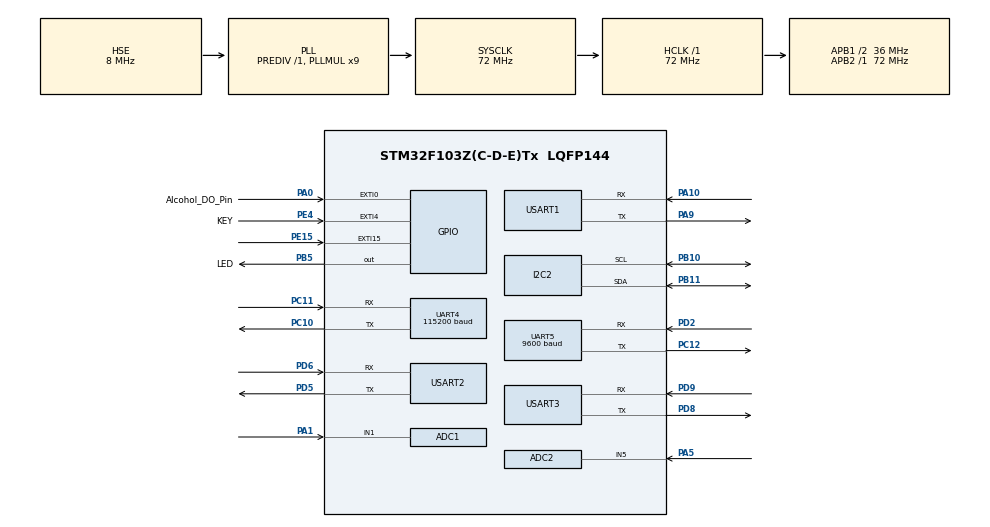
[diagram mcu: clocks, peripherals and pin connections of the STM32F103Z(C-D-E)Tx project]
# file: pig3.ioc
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ADC1.Channel-0\#ChannelRegularConversion=ADC_CHANNEL_1
ADC1.NbrOfConversionFlag=1
ADC1.Rank-0\#ChannelRegularConversion=1
ADC1.SamplingTime-0\#ChannelRegularConversion=ADC_SAMPLETIME_1CYCLE_5
ADC1.master=1
ADC2.Channel-2\#ChannelRegularConversion=ADC_CHANNEL_5
ADC2.NbrOfConversionFlag=1
ADC2.Rank-2\#ChannelRegularConversion=1
ADC2.SamplingTime-2\#ChannelRegularConversion=ADC_SAMPLETIME_1CYCLE_5
Dma.ADC1.0.Direction=DMA_PERIPH_TO_MEMORY
Dma.ADC1.0.Instance=DMA1_Channel1
Dma.ADC1.0.MemDataAlignment=DMA_MDATAALIGN_HALFWORD
Dma.ADC1.0.MemInc=DMA_MINC_ENABLE
Dma.ADC1.0.Mode=DMA_NORMAL
Dma.ADC1.0.PeriphDataAlignment=DMA_PDATAALIGN_HALFWORD
Dma.ADC1.0.PeriphInc=DMA_PINC_DISABLE
Dma.ADC1.0.Priority=DMA_PRIORITY_LOW
Dma.Request0=ADC1
Mcu.Family=STM32F1
Mcu.Name=STM32F103Z(C-D-E)Tx
Mcu.Package=LQFP144
NVIC.DMA1_Channel1_IRQn=true\:0\:0\:false\:false\:true\:false\:true
NVIC.EXTI0_IRQn=true\:0\:0\:false\:false\:true\:true\:true
NVIC.EXTI15_10_IRQn=true\:2\:0\:true\:false\:true\:true\:true
NVIC.EXTI4_IRQn=true\:0\:0\:false\:false\:true\:true\:true
NVIC.PriorityGroup=NVIC_PRIORITYGROUP_4
NVIC.TIM2_IRQn=true\:0\:0\:true\:false\:true\:true\:true
NVIC.UART4_IRQn=true\:1\:0\:true\:false\:true\:true\:true
NVIC.UART5_IRQn=true\:0\:0\:false\:false\:true\:true\:true
NVIC.USART1_IRQn=true\:0\:0\:false\:false\:true\:true\:true
NVIC.USART2_IRQn=true\:2\:0\:true\:false\:true\:true\:true
NVIC.USART3_IRQn=true\:0\:0\:false\:false\:true\:true\:true
OSC_IN.Mode=HSE-External-Oscillator
OSC_IN.Signal=RCC_OSC_IN
OSC_OUT.Mode=HSE-External-Oscillator
OSC_OUT.Signal=RCC_OSC_OUT
PA0-WKUP.GPIO_Label=Alcohol_DO_Pin
PA0-WKUP.GPIO_ModeDefaultEXTI=GPIO_MODE_IT_FALLING
PA0-WKUP.Signal=GPXTI0
PA1.Signal=ADCx_IN1
PA10.Mode=Asynchronous
PA10.Signal=USART1_RX
PA13.Mode=Serial_Wire
PA13.Signal=SYS_JTMS-SWDIO
PA14.Mode=Serial_Wire
PA14.Signal=SYS_JTCK-SWCLK
PA5.Signal=ADCx_IN5
PA9.Mode=Asynchronous
PA9.Signal=USART1_TX
PB10.Mode=I2C
PB10.Signal=I2C2_SCL
PB11.Mode=I2C
PB11.Signal=I2C2_SDA
PB5.GPIO_Label=LED
PB5.GPIO_Speed=GPIO_SPEED_FREQ_MEDIUM
PB5.PinState=GPIO_PIN_SET
PB5.Signal=GPIO_Output
PC10.Mode=Asynchronous
PC10.Signal=UART4_TX
PC11.Mode=Asynchronous
PC11.Signal=UART4_RX
PC12.Mode=Asynchronous
PC12.Signal=UART5_TX
PD2.Mode=Asynchronous
PD2.Signal=UART5_RX
PD5.Mode=Asynchronous
PD5.Signal=USART2_TX
PD6.Mode=Asynchronous
PD6.Signal=USART2_RX
PD8.Mode=Asynchronous
PD8.Signal=USART3_TX
PD9.Mode=Asynchronous
PD9.Signal=USART3_RX
PE15.GPIO_ModeDefaultEXTI=GPIO_MODE_IT_RISING
PE15.Signal=GPXTI15
PE4.GPIO_Label=KEY
PE4.GPIO_ModeDefaultEXTI=GPIO_MODE_IT_RISING_FALLING
PE4.Signal=GPXTI4
ProjectManager.HeapSize=0x200
ProjectManager.StackSize=0x400
ProjectManager.TargetToolchain=MDK-ARM V5.27
RCC.ADCPresc=RCC_ADCPCLK2_DIV6
RCC.AHBFreq_Value=72000000
RCC.APB1CLKDivider=RCC_HCLK_DIV2
RCC.APB1Freq_Value=36000000
RCC.APB1TimFreq_Value=72000000
RCC.APB2Freq_Value=72000000
RCC.APB2TimFreq_Value=72000000
RCC.HCLKFreq_Value=72000000
RCC.PLLMUL=RCC_PLL_MUL9
RCC.PLLSourceVirtual=RCC_PLLSOURCE_HSE
RCC.SYSCLKFreq_VALUE=72000000
RCC.SYSCLKSource=RCC_SYSCLKSOURCE_PLLCLK
RCC.USBFreq_Value=72000000
SH.ADCx_IN1.0=ADC1_IN1,IN1
SH.ADCx_IN5.0=ADC2_IN5,IN5
TIM2.Period=9999
TIM2.Prescaler=7199
UART4.BaudRate=115200
UART4.VirtualMode=Asynchronous
UART5.BaudRate=9600
UART5.VirtualMode=Asynchronous
USART1.VirtualMode=VM_ASYNC
USART2.VirtualMode=VM_ASYNC
USART3.VirtualMode=VM_ASYNC
VP_TIM2_VS_ClockSourceINT.Mode=Internal
board=custom

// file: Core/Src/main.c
/* USER CODE BEGIN Header */
/**
  ******************************************************************************
  * @file           : main.c
  * @brief          : Main program body
  ******************************************************************************
  * @attention
  *
  * Copyright (c) 2022 STMicroelectronics.
  * All rights reserved.
  *
  * This software is licensed under terms that can be found in the LICENSE file
  * in the root directory of this software component.
  * If no LICENSE file comes with this software, it is provided AS-IS.
  *
  ******************************************************************************
  */
/* USER CODE END Header */
#include "main.h"
#include "adc.h"
#include "dma.h"
#include "i2c.h"
#include "tim.h"
#include "usart.h"
#include "gpio.h"

/* USER CODE BEGIN Includes */
#include "stdio.h"
#include "syn6288.h"
#include "openmv.h"
#include "mq135.h"
#include "sim900.h"
#include "hdmi.h"
/* USER CODE END Includes */

/* USER CODE BEGIN PV */
//短信发送的消息内容,危险驾驶行为
char msg[]="30104E0953EA5C0F732A30114EB27231768475286237FF0C68C06D4B523060A876849A7E9A76884C4E3A5B5857285B89516898CE9669FF0C4E3A4E8660A8548C4ED64EBA76845E78798FFF0C8BF76CE8610F4EA4901A5B8951683002795D60A84E008DEF5E735B89FF01\r\n";

float temperate=0;
float ppm;
extern  uint8_t RoG;
uint16_t time=0;
uint8_t USART1_RXbuff[10];
uint8_t USART2_RXbuff[5];
uint8_t USART3_RXbuff[10];
uint8_t warn[10];
uint8_t warn_flag=0;
uint8_t USART4_RXbuff;  // opennmv接收缓冲区
uint8_t if_alcohol;     //是否酒驾标志位
uint8_t if_warn;
/* USER CODE END PV */

void SystemClock_Config(void);

int main(void)
{

  /* MCU Configuration--------------------------------------------------------*/

  /* Reset of all peripherals, Initializes the Flash interface and the Systick. */
  HAL_Init();

  /* Configure the system clock */
  SystemClock_Config();

  /* Initialize all configured peripherals */
  MX_GPIO_Init();
  MX_UART4_Init();
  MX_UART5_Init();
  MX_DMA_Init();
  MX_ADC1_Init();
  MX_USART1_UART_Init();
  MX_USART2_UART_Init();
  MX_ADC2_Init();
  MX_I2C2_Init();
  MX_TIM2_Init();
  MX_USART3_UART_Init();
  /* USER CODE BEGIN 2 */
//	HAL_UART_Receive_IT(&huart1,USART1_RXbuff,2);
	HAL_UART_Receive_IT(&huart2,USART2_RXbuff,1);
	HAL_UART_Receive_IT(&huart3,USART3_RXbuff,4);
	HAL_UART_Receive_IT(&huart4,(void *)&USART4_RXbuff,1);

	//************串口测试
	char hdmi_n0msg[20];
	int ppm1;
	int time_flag=0;
	HAL_GPIO_WritePin(LED_GPIO_Port,LED_Pin,1);//关灯
  /* USER CODE END 2 */

  /* Infinite loop */
  /* USER CODE BEGIN WHILE */
  while (1)
  {
		//检测空气质量（卢）
		MQ135_Task();

		//更新屏幕数据，n0——ppm
		ppm1=ppm*10;

		sprintf(hdmi_n0msg,"x0.val=%d",ppm1);
		Hdmi_SendAtCmd(hdmi_n0msg);
		SendEnd();
		memset(hdmi_n0msg,'\0',sizeof(hdmi_n0msg));

		//**************酒精检测
		//检测酒精，如果酒精超标就报警＋语音（卢东）
		if(USART2_RXbuff[0]=='1')
		{
			if(time_flag==0)
			{
				SYN_FrameInfo("[v6][t5]请在五秒内进行酒精检测");
				HAL_TIM_Base_Start_IT(&htim2);
				time_flag=1;
			}

			else if(time_flag==1 && time>=8)	//5s过去
			{
				HAL_TIM_Base_Stop_IT(&htim2);
				time=0;
				time_flag=0;
				memset(USART2_RXbuff,'\0',sizeof(USART2_RXbuff));
				if(if_alcohol==1)SYN_FrameInfo("[v6][t5]您已喝酒，请勿酒后开车");
				else(SYN_FrameInfo("[v6][t5]检测完毕，祝您一路顺风"));
			}
		}

		//******************除红灯外，检测危险行为，有则语音播报加短信提醒（卢康东）
		if(RoG==0)
		{
			HAL_GPIO_WritePin(LED_GPIO_Port,LED_Pin,0);//开灯

			if(warn[0]=='w'&&warn[1]=='a'&&warn[2]=='r'&&warn[3]=='n')
			{
				HAL_UART_Transmit(&huart4, (uint8_t *)"1",1,0xFFFF);	//开启震动
				warn_flag=1;
				memset(warn,'\0',sizeof(warn));
				SYN_FrameInfo("[v6][t5]检测到危险驾驶行为，请安全驾驶");
				Sim900A_SendMsg2(msg,"13022045427");
				HAL_UART_Transmit(&huart4, (uint8_t *)"0",1,0xFFFF);	//关闭震动
				warn_flag=0;
			}
		}
		else 	HAL_GPIO_WritePin(LED_GPIO_Port,LED_Pin,1);//关灯

		//检测心率（东）

    /* USER CODE END WHILE */

    /* USER CODE BEGIN 3 */

//		HAL_ADC_Start_DMA(&hadc1,&adc_value,1);
//		//数值处理
//		HAL_Delay(1000);
//		adc_value=adc_value>>16;
//		temperate=((float)(adc_value*3.3/4096)-0.4)*40;//得到电压值
//		printf("temperate=%.2f\r\n",temperate);
  }
  /* USER CODE END 3 */
}

void SystemClock_Config(void)
{
  RCC_OscInitTypeDef RCC_OscInitStruct = {0};
  RCC_ClkInitTypeDef RCC_ClkInitStruct = {0};
  RCC_PeriphCLKInitTypeDef PeriphClkInit = {0};

  /** Initializes the RCC Oscillators according to the specified parameters
  * in the RCC_OscInitTypeDef structure.
  */
  RCC_OscInitStruct.OscillatorType = RCC_OSCILLATORTYPE_HSE;
  RCC_OscInitStruct.HSEState = RCC_HSE_ON;
  RCC_OscInitStruct.HSEPredivValue = RCC_HSE_PREDIV_DIV1;
  RCC_OscInitStruct.HSIState = RCC_HSI_ON;
  RCC_OscInitStruct.PLL.PLLState = RCC_PLL_ON;
  RCC_OscInitStruct.PLL.PLLSource = RCC_PLLSOURCE_HSE;
  RCC_OscInitStruct.PLL.PLLMUL = RCC_PLL_MUL9;
  if (HAL_RCC_OscConfig(&RCC_OscInitStruct) != HAL_OK)
  {
    Error_Handler();
  }
  /** Initializes the CPU, AHB and APB buses clocks
  */
  RCC_ClkInitStruct.ClockType = RCC_CLOCKTYPE_HCLK|RCC_CLOCKTYPE_SYSCLK
                              |RCC_CLOCKTYPE_PCLK1|RCC_CLOCKTYPE_PCLK2;
  RCC_ClkInitStruct.SYSCLKSource = RCC_SYSCLKSOURCE_PLLCLK;
  RCC_ClkInitStruct.AHBCLKDivider = RCC_SYSCLK_DIV1;
  RCC_ClkInitStruct.APB1CLKDivider = RCC_HCLK_DIV2;
  RCC_ClkInitStruct.APB2CLKDivider = RCC_HCLK_DIV1;

  if (HAL_RCC_ClockConfig(&RCC_ClkInitStruct, FLASH_LATENCY_2) != HAL_OK)
  {
    Error_Handler();
  }
  PeriphClkInit.PeriphClockSelection = RCC_PERIPHCLK_ADC;
  PeriphClkInit.AdcClockSelection = RCC_ADCPCLK2_DIV6;
  if (HAL_RCCEx_PeriphCLKConfig(&PeriphClkInit) != HAL_OK)
  {
    Error_Handler();
  }
}

/* USER CODE BEGIN 4 */
void HAL_GPIO_EXTI_Callback(uint16_t GPIO_Pin){
	if(GPIO_Pin==Alcohol_DO_Pin){
//	 HAL_GPIO_WritePin(LED_GPIO_Port,LED_Pin,0);
		if_alcohol=1;
	}
	if(GPIO_Pin==KEY_Pin){
//	 HAL_GPIO(LED_GPIO_Port,LED_Pin,0);
//		HAL_GPIO_TogglePin(LED_GPIO_Port,LED_Pin);
			if_alcohol=0;
	}						//酒精传感器引脚中断
		if(GPIO_Pin==GPIO_PIN_15){
		if(if_warn==0){SYN_FrameInfo("[v6][t5]车内空气质量低，请及时通风");if_warn=1;}

//		else if(HAL_GPIO_ReadPin(GPIOE,GPIO_PIN_15)==0)SYN_FrameInfo("[v6][t5]1");
	}

}
void HAL_UART_RxCpltCallback(UART_HandleTypeDef *huart)
{

  uint16_t tempt  /*定义临时变量存放接受的数据*/;
  if(huart->Instance==UART4)	//串口4是openmv
  {
    tempt=USART4_RXbuff;
    Openmv_Receive_Data(tempt);
		/*调运数据接收处理函数，每次进入中断都对数据进行理处
		，由于需要接收器个数据，因此要进入七次断理*/

		HAL_UART_Receive_IT(&huart4,(void *)&USART4_RXbuff,1);/*再次开启接收中断*/
  }

	//***************卢

//	if(huart->Instance==USART1)	//串口2是短信
//	{
////		HAL_UART_Transmit(&huart1, (uint8_t *)USART1_RXbuff, 2,0xFFFF);
//		memset(USART1_RXbuff,'\0',sizeof(USART1_RXbuff));
//		HAL_UART_Receive_IT(&huart1,(void *)USART1_RXbuff,2);/*再次开启接收中断*/
//	}
//
	if(huart->Instance==USART2)	//串口2是hdmi
	{
//		memset(USART2_RXbuff,'\0',sizeof(USART2_RXbuff));
		HAL_UART_Receive_IT(&huart2,USART2_RXbuff,1);/*再次开启接收中断*/
	}

		if(huart->Instance==USART3)	//串口3是树莓派
	{
		if(warn_flag==0)	//让警告执行完
		{
		memcpy(warn,USART3_RXbuff,sizeof(USART3_RXbuff));
		memset(USART3_RXbuff,'\0',sizeof(USART3_RXbuff));

		}
		HAL_UART_Receive_IT(&huart3,USART3_RXbuff,4);/*再次开启接收中断*/
	}
}

void HAL_TIM_PeriodElapsedCallback(TIM_HandleTypeDef *htim)
	{
		if(htim->Instance == TIM2)
		{
			time++;
			if(time>10000)
				time=0;	//防止越界
		}
}

/* USER CODE END 4 */

void Error_Handler(void)
{
  __disable_irq();
  while (1)
  {
  }
}
